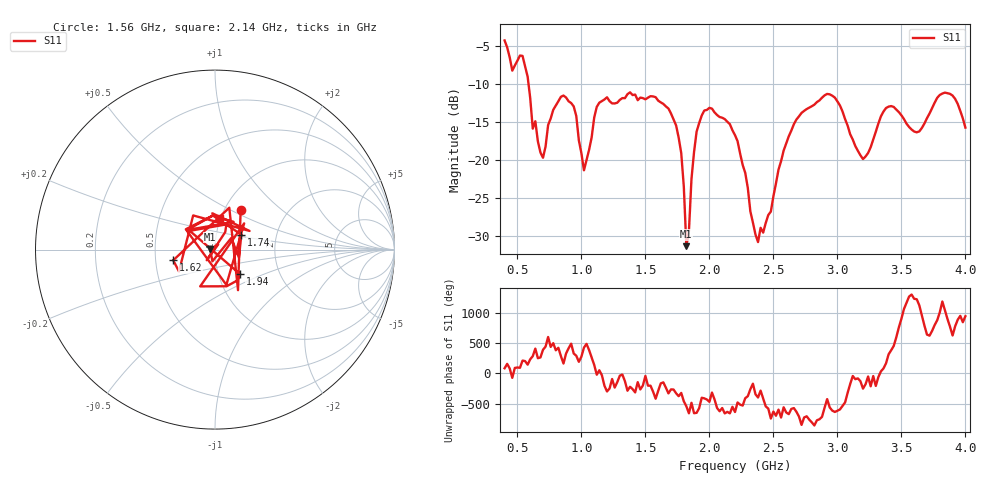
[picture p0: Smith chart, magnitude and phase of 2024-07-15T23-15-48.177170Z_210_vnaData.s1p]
!Created with skrf (http://scikit-rf.org).
# Hz S RI R 50.0
!freq ReS11 ImS11
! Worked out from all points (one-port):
!   181 points, 400 MHz to 4 GHz, reference 50 ohm
!   lowest |S11| = -31.4 dB at 1.82 GHz (marker M1), VSWR 1.06, Z = 47.4 + j0.275 ohm
!   |S11| at or under -10 dB: 587.1 MHz to end of sweep
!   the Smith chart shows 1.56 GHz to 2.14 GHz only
!   S11 on the Smith chart (normalised r, x): 1.56 GHz: 1.19, +0.56; 1.62 GHz: 0.62, -0.08; 1.74 GHz: 1.32, +0.23; 1.94 GHz: 1.27, -0.36; 2.14 GHz: 0.99, +0.36
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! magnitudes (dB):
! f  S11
! 400 MHz  -4.2
! 460 MHz  -8.2
! 540 MHz  -6.3
! 700 MHz  -19.7
! 860 MHz  -11.5
! 940 MHz  -12.9
! 1.02 GHz  -21.4
! 1.12 GHz  -13.0
! 1.3 GHz  -12.1
! 1.56 GHz  -11.6
! 1.62 GHz  -12.4
! 1.74 GHz  -15.4
! 1.76 GHz  -17.1
! 1.8 GHz  -23.5
! 1.82 GHz  -31.4
! 1.88 GHz  -19.0
! 1.94 GHz  -14.1
! 2.14 GHz  -14.9
! 2.2 GHz  -16.7
! 2.38 GHz  -30.8
! 2.66 GHz  -15.3
! 2.94 GHz  -11.3
! 3.1 GHz  -16.6
! 3.2 GHz  -19.9
! 3.38 GHz  -13.1
! 3.56 GHz  -15.6
! 3.84 GHz  -11.1
! 4 GHz  -15.7
